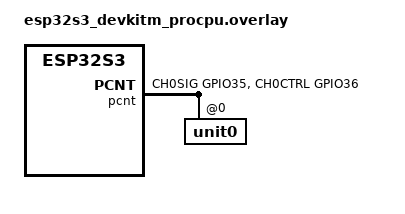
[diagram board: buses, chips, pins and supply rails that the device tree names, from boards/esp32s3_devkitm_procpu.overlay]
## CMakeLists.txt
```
# SPDX-License-Identifier: Apache-2.0

cmake_minimum_required(VERSION 3.20.0)
find_package(Zephyr REQUIRED HINTS $ENV{ZEPHYR_BASE})
project(qdec_sensor)

FILE(GLOB app_sources src/*.c)
target_sources(app PRIVATE ${app_sources})
```

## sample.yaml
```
sample:
  description: Usage quadrature decoder sensor
  name: qdec_sensor
common:
  tags: sensors
  timeout: 5
  harness: console

tests:
  sample.sensor.qdec_sensor:
    filter: dt_alias_exists("qdec0")
    harness_config:
      type: multi_line
      ordered: true
      regex:
        - "Quadrature decoder sensor test"
        - "Position = (.*) degrees"

  sample.sensor.sam_qdec_sensor:
    platform_allow:
      - sam_e70_xplained/same70q21
      - sam_e70_xplained/same70q21b
    harness_config:
      type: multi_line
      ordered: true
      regex:
        - "Quadrature decoder sensor test"
        - "Position = (.*) degrees"

  sample.sensor.st_qdec_sensor:
    platform_allow: nucleo_f401re
    harness_config:
      fixture: fixture_mech_encoder
      type: multi_line
      ordered: true
      regex:
        - "Quadrature decoder sensor test"
        - "Position = (.*) degrees"

  sample.sensor.nrf_qdec_sensor:
    platform_allow:
      - nrf52840dk/nrf52840
      - nrf5340dk/nrf5340/cpuapp
      - nrf54l15pdk/nrf54l15/cpuapp
      - nrf54h20dk/nrf54h20/cpuapp
    integration_platforms:
      - nrf52840dk/nrf52840
      - nrf5340dk/nrf5340/cpuapp
      - nrf54l15pdk/nrf54l15/cpuapp
      - nrf54h20dk/nrf54h20/cpuapp
    harness_config:
      fixture: gpio_loopback
      type: multi_line
      ordered: true
      regex:
        - "Quadrature decoder sensor test"
        - "Position = -[45678]\\d degrees"
```

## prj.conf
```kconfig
CONFIG_SENSOR=y
CONFIG_PRINTK=y
```

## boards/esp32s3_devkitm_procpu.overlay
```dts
/*
 * SPDX-License-Identifier: Apache-2.0
 *
 * Copyright (c) 2023 Espressif Systems (Shanghai) Co., Ltd.
 */

/ {
	aliases {
		qdec0 = &pcnt;
	};
};

&pinctrl {
	pcnt_default: pcnt_default {
		group1 {
			pinmux = <PCNT0_CH0SIG_GPIO35>,
				<PCNT0_CH0CTRL_GPIO36>;
			bias-pull-up;
		};
	};
};

&pcnt {
	pinctrl-0 = <&pcnt_default>;
	pinctrl-names = "default";
	status = "okay";
	#address-cells = <1>;
	#size-cells = <0>;
	unit0@0 {
		reg = <0>;
		#address-cells = <1>;
		#size-cells = <0>;
		filter = <100>;
		channelA@0 {
			reg = <0>;
			sig-pos-mode = <2>;
			sig-neg-mode = <1>;
			ctrl-h-mode = <0>;
			ctrl-l-mode = <1>;
		};
	};
};
```

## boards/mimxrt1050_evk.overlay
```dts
/*
 * Copyright (c) 2022 Prevas A/S
 *
 * SPDX-License-Identifier: Apache-2.0
 *
 * Application overlay for creating quadrature decoder device instance
 */

/ {
	aliases {
		qdec0 = &qdec1;
		qenca = &phase_a;
		qencb = &phase_b;
		/delete-property/ magn0;
		/delete-property/ accel0;
	};

	/* Wire J22 3 <-> 5 and J22 4 <-> 6 */
	encoder-emulate {
		compatible = "gpio-leds";
		phase_a: phase_a {
			gpios = <&gpio1 11 GPIO_ACTIVE_HIGH>;
		};
		phase_b: phase_b {
			gpios = <&gpio1 24 GPIO_ACTIVE_HIGH>;
		};
	};
};

/* disable to avoid encoder phase input conflict */
&enet {
	status = "disabled";
};

/* disable to avoid encoder emulater conflict */
&fxos8700 {
	status = "disabled";
};

&qdec1 {
	status = "okay";
	pinctrl-0 = <&pinmux_qdec1>;
	pinctrl-names = "default";
	counts-per-revolution = < 120 >;
	xbar = < &xbar1 >;
};

&xbar1 {
	status = "okay";
	xbar-maps = < (21|0x100) (66|0x100) >, /* kXBARA1_InputIomuxXbarIn21 <-> kXBARA1_OutputEnc1PhaseAInput */
		    < (22|0x100) (67|0x100) >; /* kXBARA1_InputIomuxXbarIn22 <-> kXBARA1_OutputEnc1PhaseBInput */
};
```

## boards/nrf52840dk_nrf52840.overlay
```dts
/*
 * Copyright 2023 Nordic Semiconductor ASA
 * SPDX-License-Identifier: Apache-2.0
 */

/ {
	aliases {
		qdec0 = &qdec0;
		qenca = &phase_a;
		qencb = &phase_b;
	};

	encoder-emulate {
		compatible = "gpio-leds";
		phase_a: phase_a {
			/* Arduino D1 */
			gpios = <&gpio1 2 GPIO_ACTIVE_HIGH>;
		};
		phase_b: phase_b {
			/* Arduino D3 */
			gpios = <&gpio1 4 GPIO_ACTIVE_HIGH>;
		};
	};

};

&pinctrl {
	qdec_pinctrl: qdec_pinctrl {
		group1 {
			psels = <NRF_PSEL(QDEC_A, 1, 1)>,   /* Ardiuno D0 */
				<NRF_PSEL(QDEC_B, 1, 3)>;   /* Arduino D2 */
		};
	};
};

&qdec0 {
	status = "okay";
	pinctrl-0 = <&qdec_pinctrl>;
	pinctrl-names = "default";
	steps = < 120 >;
	led-pre = < 500 >;
};
```

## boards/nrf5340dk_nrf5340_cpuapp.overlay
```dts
/*
 * Copyright 2023 Nordic Semiconductor ASA
 * SPDX-License-Identifier: Apache-2.0
 */

/ {
	aliases {
		qdec0 = &qdec1;
		qenca = &phase_a;
		qencb = &phase_b;
	};

	encoder-emulate {
		compatible = "gpio-leds";
		phase_a: phase_a {
			/* Arduino A1 */
			gpios = <&gpio0 5 GPIO_ACTIVE_HIGH>;
		};
		phase_b: phase_b {
			/* Arduino A3 */
			gpios = <&gpio0 7 GPIO_ACTIVE_HIGH>;
		};
	};
};

&pinctrl {
	qdec_pinctrl: qdec_pinctrl {
		group1 {
			psels = <NRF_PSEL(QDEC_A, 0, 4)>,   /* Ardiuno A0 */
				<NRF_PSEL(QDEC_B, 0, 6)>;   /* Arduino A2 */
		};
	};
};

&qdec1 {
	status = "okay";
	pinctrl-0 = <&qdec_pinctrl>;
	pinctrl-names = "default";
	steps = < 120 >;
	led-pre = < 500 >;
};
```

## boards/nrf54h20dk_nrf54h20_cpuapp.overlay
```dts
/*
 * Copyright 2024 Nordic Semiconductor ASA
 * SPDX-License-Identifier: Apache-2.0
 */

/ {
	aliases {
		qdec0 = &qdec130;
		qenca = &phase_a;
		qencb = &phase_b;
	};

	encoder-emulate {
		compatible = "gpio-leds";
		phase_a: phase_a {
			gpios = <&gpio7 2 GPIO_ACTIVE_HIGH>;
		};
		phase_b: phase_b {
			gpios = <&gpio1 3 GPIO_ACTIVE_HIGH>;
		};
	};
};

&pinctrl {
	qdec_pinctrl: qdec_pinctrl {
		group1 {
			psels = <NRF_PSEL(QDEC_A, 1, 0)>,
				<NRF_PSEL(QDEC_B, 1, 2)>;
		};
	};
};

&gpio1 {
	status = "okay";
};

&gpio7 {
	status = "okay";
};

&qdec130 {
	status = "okay";
	pinctrl-0 = <&qdec_pinctrl>;
	pinctrl-names = "default";
	steps = <120>;
	led-pre = <500>;
};
```

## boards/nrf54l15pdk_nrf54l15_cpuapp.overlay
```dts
/*
 * Copyright 2024 Nordic Semiconductor ASA
 * SPDX-License-Identifier: Apache-2.0
 */

/ {
	aliases {
		qdec0 = &qdec20;
		qenca = &phase_a;
		qencb = &phase_b;
	};

	encoder-emulate {
		compatible = "gpio-leds";
		phase_a: phase_a {
			gpios = <&gpio1 9 GPIO_ACTIVE_HIGH>;
		};
		phase_b: phase_b {
			gpios = <&gpio1 11 GPIO_ACTIVE_HIGH>;
		};
	};
};

&pinctrl {
	qdec_pinctrl: qdec_pinctrl {
		group1 {
			psels = <NRF_PSEL(QDEC_A, 1, 8)>,
				<NRF_PSEL(QDEC_B, 1, 10)>;
		};
	};
};

&gpio1 {
	status = "okay";
};

&qdec20 {
	status = "okay";
	pinctrl-0 = <&qdec_pinctrl>;
	pinctrl-names = "default";
	steps = <120>;
	led-pre = <500>;
};
```

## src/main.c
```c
/*
 * Copyright (c) 2022 Valerio Setti <valerio.setti@gmail.com>
 *
 * SPDX-License-Identifier: Apache-2.0
 */

#include <zephyr/kernel.h>
#include <zephyr/device.h>
#include <zephyr/drivers/sensor.h>
#include <zephyr/sys/printk.h>

#define QUAD_ENC_EMUL_ENABLED \
	DT_NODE_EXISTS(DT_ALIAS(qenca)) && DT_NODE_EXISTS(DT_ALIAS(qencb))

#if QUAD_ENC_EMUL_ENABLED

#include <zephyr/drivers/gpio.h>

#define QUAD_ENC_EMUL_PERIOD 100

static const struct gpio_dt_spec phase_a =
			GPIO_DT_SPEC_GET(DT_ALIAS(qenca), gpios);
static const struct gpio_dt_spec phase_b =
			GPIO_DT_SPEC_GET(DT_ALIAS(qencb), gpios);
static bool toggle_a;

void qenc_emulate_work_handler(struct k_work *work)
{
	toggle_a = !toggle_a;
	if (toggle_a) {
		gpio_pin_toggle_dt(&phase_a);
	} else {
		gpio_pin_toggle_dt(&phase_b);
	}
}

static K_WORK_DEFINE(qenc_emulate_work, qenc_emulate_work_handler);

static void qenc_emulate_timer_handler(struct k_timer *dummy)
{
	k_work_submit(&qenc_emulate_work);
}

static K_TIMER_DEFINE(qenc_emulate_timer, qenc_emulate_timer_handler, NULL);

static void qenc_emulate_init(void)
{
	printk("Quadrature encoder emulator enabled with %u ms period\n",
		QUAD_ENC_EMUL_PERIOD);

	if (!gpio_is_ready_dt(&phase_a)) {
		printk("%s: device not ready.", phase_a.port->name);
		return;
	}
	gpio_pin_configure_dt(&phase_a, GPIO_OUTPUT);

	if (!gpio_is_ready_dt(&phase_b)) {
		printk("%s: device not ready.", phase_b.port->name);
		return;
	}
	gpio_pin_configure_dt(&phase_b, GPIO_OUTPUT);

	k_timer_start(&qenc_emulate_timer, K_MSEC(QUAD_ENC_EMUL_PERIOD / 2),
			K_MSEC(QUAD_ENC_EMUL_PERIOD / 2));
}

#else

static void qenc_emulate_init(void) { };

#endif /* QUAD_ENC_EMUL_ENABLED */

int main(void)
{
	struct sensor_value val;
	int rc;
	const struct device *const dev = DEVICE_DT_GET(DT_ALIAS(qdec0));

	if (!device_is_ready(dev)) {
		printk("Qdec device is not ready\n");
		return 0;
	}

	printk("Quadrature decoder sensor test\n");

	qenc_emulate_init();

#ifndef CONFIG_COVERAGE
	while (true) {
#else
	for (int i = 0; i < 3; i++) {
#endif
		/* sleep first to gather position from first period */
		k_msleep(1000);

		rc = sensor_sample_fetch(dev);
		if (rc != 0) {
			printk("Failed to fetch sample (%d)\n", rc);
			return 0;
		}

		rc = sensor_channel_get(dev, SENSOR_CHAN_ROTATION, &val);
		if (rc != 0) {
			printk("Failed to get data (%d)\n", rc);
			return 0;
		}

		printk("Position = %d degrees\n", val.val1);
	}
	return 0;
}
```
